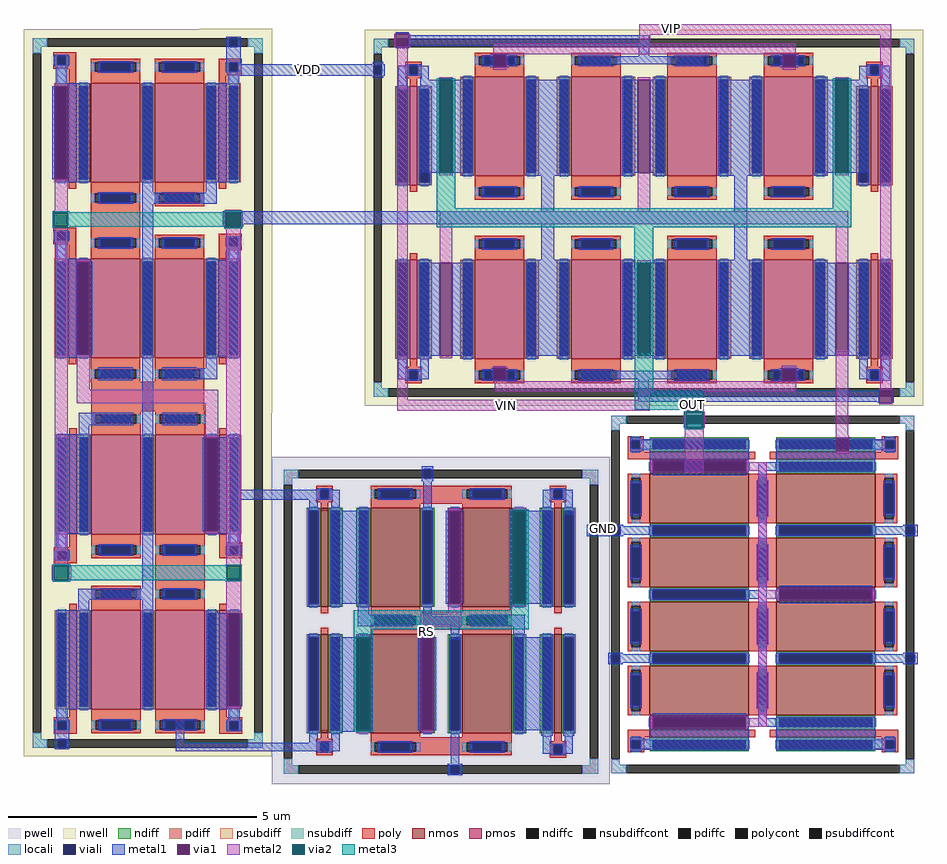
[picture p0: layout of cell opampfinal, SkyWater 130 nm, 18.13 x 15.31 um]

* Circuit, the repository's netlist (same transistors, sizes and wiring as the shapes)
* NGSPICE file created from opampfinal.ext - technology: sky130A

.subckt sky130_fd_pr__nfet_01v8_U7AA6P a_n287_n200# a_229_n200# a_29_n288# a_n29_n200#
+ a_n229_n288# VSUBS
X0 a_n29_n200# a_n229_n288# a_n287_n200# VSUBS sky130_fd_pr__nfet_01v8 ad=0.29 pd=2.29 as=0.58 ps=4.58 w=2 l=1
X1 a_229_n200# a_29_n288# a_n29_n200# VSUBS sky130_fd_pr__nfet_01v8 ad=0.58 pd=4.58 as=0.29 ps=2.29 w=2 l=1
.ends

.subckt sky130_fd_pr__nfet_01v8_TC9PLT a_15_n200# a_n15_n226# a_n73_n200# VSUBS
X0 a_15_n200# a_n15_n226# a_n73_n200# VSUBS sky130_fd_pr__nfet_01v8 ad=0.58 pd=4.58 as=0.58 ps=4.58 w=2 l=0.15
.ends

.subckt nmoscs2 GND D9 D8
Xsky130_fd_pr__nfet_01v8_U7AA6P_2 D9 D8 D8 GND D8 GND sky130_fd_pr__nfet_01v8_U7AA6P
Xsky130_fd_pr__nfet_01v8_U7AA6P_3 D9 D8 D8 GND D8 GND sky130_fd_pr__nfet_01v8_U7AA6P
Xsky130_fd_pr__nfet_01v8_TC9PLT_0 D8 D8 D8 GND sky130_fd_pr__nfet_01v8_TC9PLT
Xsky130_fd_pr__nfet_01v8_TC9PLT_1 D8 D8 D8 GND sky130_fd_pr__nfet_01v8_TC9PLT
Xsky130_fd_pr__nfet_01v8_TC9PLT_2 D9 D9 D9 GND sky130_fd_pr__nfet_01v8_TC9PLT
Xsky130_fd_pr__nfet_01v8_TC9PLT_3 D9 D9 D9 GND sky130_fd_pr__nfet_01v8_TC9PLT
Xsky130_fd_pr__nfet_01v8_U7AA6P_0 D8 D9 D8 GND D8 GND sky130_fd_pr__nfet_01v8_U7AA6P
Xsky130_fd_pr__nfet_01v8_U7AA6P_1 D8 D9 D8 GND D8 GND sky130_fd_pr__nfet_01v8_U7AA6P
.ends

.subckt sky130_fd_pr__pfet_01v8_2ZH9AN a_15_n200# a_n15_n226# a_n73_n200# w_n109_n262#
X0 a_15_n200# a_n15_n226# a_n73_n200# w_n109_n262# sky130_fd_pr__pfet_01v8 ad=0.58 pd=4.58 as=0.58 ps=4.58 w=2 l=0.15
.ends

.subckt sky130_fd_pr__pfet_01v8_SDE6B7 a_29_n297# a_n287_n200# a_n229_n297# a_229_n200#
+ a_n29_n200# w_n323_n300#
X0 a_229_n200# a_29_n297# a_n29_n200# w_n323_n300# sky130_fd_pr__pfet_01v8 ad=0.58 pd=4.58 as=0.29 ps=2.29 w=2 l=1
X1 a_n29_n200# a_n229_n297# a_n287_n200# w_n323_n300# sky130_fd_pr__pfet_01v8 ad=0.29 pd=2.29 as=0.58 ps=4.58 w=2 l=1
.ends

.subckt pmoscs VDD D5 D1 D2
Xsky130_fd_pr__pfet_01v8_2ZH9AN_0 VDD VDD VDD VDD sky130_fd_pr__pfet_01v8_2ZH9AN
Xsky130_fd_pr__pfet_01v8_2ZH9AN_1 D2 D2 D2 VDD sky130_fd_pr__pfet_01v8_2ZH9AN
Xsky130_fd_pr__pfet_01v8_2ZH9AN_2 D1 D1 D1 VDD sky130_fd_pr__pfet_01v8_2ZH9AN
Xsky130_fd_pr__pfet_01v8_2ZH9AN_3 D5 D5 D5 VDD sky130_fd_pr__pfet_01v8_2ZH9AN
Xsky130_fd_pr__pfet_01v8_2ZH9AN_4 D1 D1 D1 VDD sky130_fd_pr__pfet_01v8_2ZH9AN
Xsky130_fd_pr__pfet_01v8_2ZH9AN_5 D5 D5 D5 VDD sky130_fd_pr__pfet_01v8_2ZH9AN
Xsky130_fd_pr__pfet_01v8_2ZH9AN_6 D2 D2 D2 VDD sky130_fd_pr__pfet_01v8_2ZH9AN
Xsky130_fd_pr__pfet_01v8_2ZH9AN_7 VDD VDD VDD VDD sky130_fd_pr__pfet_01v8_2ZH9AN
Xsky130_fd_pr__pfet_01v8_SDE6B7_0 VDD D5 D2 VDD VDD VDD sky130_fd_pr__pfet_01v8_SDE6B7
Xsky130_fd_pr__pfet_01v8_SDE6B7_1 D2 D1 D2 D2 VDD VDD sky130_fd_pr__pfet_01v8_SDE6B7
Xsky130_fd_pr__pfet_01v8_SDE6B7_2 D2 D2 D2 D1 VDD VDD sky130_fd_pr__pfet_01v8_SDE6B7
Xsky130_fd_pr__pfet_01v8_SDE6B7_3 D2 VDD VDD D5 VDD VDD sky130_fd_pr__pfet_01v8_SDE6B7
.ends

.subckt sky130_fd_pr__pfet_01v8_S56997 a_n100_n297# a_100_n200# w_n194_n300# a_n158_n200#
X0 a_100_n200# a_n100_n297# a_n158_n200# w_n194_n300# sky130_fd_pr__pfet_01v8 ad=0.58 pd=4.58 as=0.58 ps=4.58 w=2 l=1
.ends

.subckt sky130_fd_pr__pfet_01v8_L4T9AL a_n73_n164# a_n33_n261# a_15_n164# w_n109_n264#
X0 a_15_n164# a_n33_n261# a_n73_n164# w_n109_n264# sky130_fd_pr__pfet_01v8 ad=0.58 pd=4.58 as=0.58 ps=4.58 w=2 l=0.15
.ends

.subckt sky130_fd_pr__pfet_01v8_M4T9AN a_n33_195# a_n73_n236# w_n109_n298# a_15_n236#
X0 a_15_n236# a_n33_195# a_n73_n236# w_n109_n298# sky130_fd_pr__pfet_01v8 ad=0.58 pd=4.58 as=0.58 ps=4.58 w=2 l=0.15
.ends

.subckt pmosdif D7 VIN VIP VDD S D6
Xsky130_fd_pr__pfet_01v8_S56997_2 VIP D7 VDD S sky130_fd_pr__pfet_01v8_S56997
Xsky130_fd_pr__pfet_01v8_S56997_3 VIP S VDD D7 sky130_fd_pr__pfet_01v8_S56997
Xsky130_fd_pr__pfet_01v8_S56997_4 VIN S VDD D6 sky130_fd_pr__pfet_01v8_S56997
Xsky130_fd_pr__pfet_01v8_S56997_5 VIP S VDD D7 sky130_fd_pr__pfet_01v8_S56997
Xsky130_fd_pr__pfet_01v8_S56997_6 VIN D6 VDD S sky130_fd_pr__pfet_01v8_S56997
Xsky130_fd_pr__pfet_01v8_S56997_7 VIN S VDD D6 sky130_fd_pr__pfet_01v8_S56997
Xsky130_fd_pr__pfet_01v8_L4T9AL_0 D7 D7 D7 VDD sky130_fd_pr__pfet_01v8_L4T9AL
Xsky130_fd_pr__pfet_01v8_L4T9AL_1 D7 D7 D7 VDD sky130_fd_pr__pfet_01v8_L4T9AL
Xsky130_fd_pr__pfet_01v8_M4T9AN_0 D6 D6 VDD D6 sky130_fd_pr__pfet_01v8_M4T9AN
Xsky130_fd_pr__pfet_01v8_M4T9AN_1 D6 D6 VDD D6 sky130_fd_pr__pfet_01v8_M4T9AN
Xsky130_fd_pr__pfet_01v8_S56997_0 VIN D6 VDD S sky130_fd_pr__pfet_01v8_S56997
Xsky130_fd_pr__pfet_01v8_S56997_1 VIP D7 VDD S sky130_fd_pr__pfet_01v8_S56997
.ends

.subckt sky130_fd_pr__nfet_01v8_F3PBJA a_100_n200# a_n158_n200# a_n100_n288# VSUBS
X0 a_100_n200# a_n100_n288# a_n158_n200# VSUBS sky130_fd_pr__nfet_01v8 ad=0.58 pd=4.58 as=0.58 ps=4.58 w=2 l=1
.ends

.subckt sky130_fd_pr__nfet_01v8_TCR5KT a_n33_191# a_n73_n231# a_15_n231# VSUBS
X0 a_15_n231# a_n33_191# a_n73_n231# VSUBS sky130_fd_pr__nfet_01v8 ad=0.58 pd=4.58 as=0.58 ps=4.58 w=2 l=0.15
.ends

.subckt nmoscs D3 GND RS D4
Xsky130_fd_pr__nfet_01v8_F3PBJA_0 GND D3 D3 GND sky130_fd_pr__nfet_01v8_F3PBJA
Xsky130_fd_pr__nfet_01v8_F3PBJA_1 RS D4 D3 GND sky130_fd_pr__nfet_01v8_F3PBJA
Xsky130_fd_pr__nfet_01v8_F3PBJA_2 D4 RS D3 GND sky130_fd_pr__nfet_01v8_F3PBJA
Xsky130_fd_pr__nfet_01v8_TC9PLT_0 D3 D3 D3 GND sky130_fd_pr__nfet_01v8_TC9PLT
Xsky130_fd_pr__nfet_01v8_F3PBJA_3 D3 GND D3 GND sky130_fd_pr__nfet_01v8_F3PBJA
Xsky130_fd_pr__nfet_01v8_TC9PLT_1 D3 D3 D3 GND sky130_fd_pr__nfet_01v8_TC9PLT
Xsky130_fd_pr__nfet_01v8_TC9PLT_2 D4 D4 D4 GND sky130_fd_pr__nfet_01v8_TC9PLT
Xsky130_fd_pr__nfet_01v8_TCR5KT_0 D4 D4 D4 GND sky130_fd_pr__nfet_01v8_TCR5KT
.ends

.subckt opampfinal VDD VIN GND RS OUT VIP
Xnmoscs2_0 GND OUT pmosdif_0/D6 nmoscs2
Xpmoscs_0 VDD pmosdif_0/S pmoscs_0/D1 pmoscs_0/D2 pmoscs
Xpmosdif_0 OUT VIN VIP VDD pmosdif_0/S pmosdif_0/D6 pmosdif
Xnmoscs_0 pmoscs_0/D1 GND RS pmoscs_0/D2 nmoscs
.ends

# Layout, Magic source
magic
tech sky130A
magscale 1 2
<< nwell >>
rect 708 1386 1001 2932
<< viali >>
rect 2281 894 2315 928
<< metal1 >>
rect 864 2743 1405 2789
rect 803 2197 961 2198
rect 803 2194 2097 2197
rect 803 2134 813 2194
rect 876 2144 2097 2194
rect 876 2134 886 2144
rect 3262 1231 3272 1283
rect 3325 1231 3335 1283
rect 839 1035 1159 1075
rect 2269 928 2367 934
rect 2269 894 2281 928
rect 2315 894 2367 928
rect 2269 888 2367 894
rect 613 55 647 144
rect 613 21 1242 55
<< via1 >>
rect 813 2134 876 2194
rect 3272 1231 3325 1283
<< metal2 >>
rect 2592 2920 2622 2942
rect 813 2194 876 2204
rect 813 2124 876 2134
rect 1505 1394 2523 1437
rect 2665 1390 2741 1395
rect 2661 1324 2670 1390
rect 2736 1324 2745 1390
rect 2665 1144 2741 1324
rect 3272 1293 3324 1635
rect 3272 1283 3325 1293
rect 3272 1221 3325 1231
rect 1600 481 1652 575
<< via2 >>
rect 2670 1324 2736 1390
<< metal3 >>
rect 2462 1474 2538 1629
rect 2462 1398 2741 1474
rect 2665 1390 2741 1398
rect 2665 1324 2670 1390
rect 2736 1324 2741 1390
rect 2665 1319 2741 1324
use nmoscs2  nmoscs2_0
transform 0 1 2945 -1 0 1198
box -176 -589 1266 658
use nmoscs  nmoscs_0
transform 1 0 1340 0 1 515
box -340 -626 1022 692
use pmoscs  pmoscs_0
transform 1 0 178 0 1 106
box -178 -106 822 2824
use pmosdif  pmosdif_0
transform -1 0 3284 0 -1 2118
box -342 -834 1910 724
<< labels >>
flabel metal1 1144 2769 1144 2769 0 FreeSans 800 0 0 0 VDD
port 1 nsew
flabel metal2 1946 1416 1946 1416 0 FreeSans 800 0 0 0 VIN
port 3 nsew
flabel metal1 2336 918 2336 918 0 FreeSans 800 0 0 0 GND
port 4 nsew
flabel metal2 1624 503 1624 503 0 FreeSans 800 0 0 0 RS
port 7 nsew
flabel metal3 2697 1420 2697 1420 0 FreeSans 800 0 0 0 OUT
port 8 nsew
flabel metal2 2610 2934 2610 2934 0 FreeSans 800 0 0 0 VIP
port 10 nsew
<< end >>

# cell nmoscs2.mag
magic
tech sky130A
magscale 1 2
<< psubdiff >>
rect -176 611 -116 645
rect 1209 611 1266 645
rect -176 585 -142 611
rect 1232 585 1266 611
rect -176 -542 -142 -516
rect 1232 -542 1266 -516
rect -176 -576 -116 -542
rect 1209 -576 1266 -542
<< psubdiffcont >>
rect -116 611 1209 645
rect -176 -516 -142 585
rect 1232 -516 1266 585
rect -116 -576 1209 -542
<< poly >>
rect -92 564 0 580
rect -92 530 -76 564
rect -42 530 0 564
rect -92 514 0 530
rect -30 488 0 514
rect 1090 564 1182 580
rect 1090 530 1132 564
rect 1166 530 1182 564
rect 1090 514 1182 530
rect 1090 504 1120 514
rect -30 -445 0 -419
rect -92 -461 0 -445
rect -92 -495 -76 -461
rect -42 -495 0 -461
rect -92 -511 0 -495
rect 1090 -444 1120 -418
rect 1090 -460 1182 -444
rect 1090 -494 1132 -460
rect 1166 -494 1182 -460
rect 1090 -510 1182 -494
<< polycont >>
rect -76 530 -42 564
rect 1132 530 1166 564
rect -76 -495 -42 -461
rect 1132 -494 1166 -460
<< locali >>
rect -176 611 -116 645
rect 1209 611 1266 645
rect -176 585 -142 611
rect 1232 585 1266 611
rect -92 530 -76 564
rect -42 530 -26 564
rect 1116 530 1132 564
rect 1166 530 1182 564
rect -76 488 -42 530
rect 1132 488 1166 530
rect -76 -461 -42 -419
rect 1132 -460 1166 -418
rect -92 -495 -76 -461
rect -42 -495 -26 -461
rect 1116 -494 1132 -460
rect 1166 -494 1182 -460
rect -176 -542 -142 -516
rect 1232 -542 1266 -516
rect -176 -576 -116 -542
rect 1209 -576 1266 -542
<< viali >>
rect 270 645 304 646
rect 786 645 820 646
rect 270 611 304 645
rect 786 611 820 645
rect -76 530 -42 564
rect 1132 530 1166 564
rect -76 -495 -42 -461
rect 1132 -494 1166 -460
rect 270 -542 304 -541
rect 270 -576 304 -542
rect 786 -576 820 -542
rect 786 -577 820 -576
<< metal1 >>
rect 264 646 310 658
rect 264 611 270 646
rect 304 611 310 646
rect 264 599 310 611
rect 780 646 826 658
rect 780 611 786 646
rect 820 611 826 646
rect 780 599 826 611
rect -88 564 -30 570
rect -88 530 -76 564
rect -42 530 -30 564
rect -88 524 -30 530
rect -81 488 -36 524
rect -82 88 51 488
rect 270 472 304 599
rect 509 100 519 476
rect 571 100 581 476
rect 786 473 820 599
rect 1120 564 1178 570
rect 1120 530 1132 564
rect 1166 530 1178 564
rect 1120 524 1178 530
rect 1126 488 1171 524
rect 1038 88 1171 488
rect 12 50 46 88
rect 1044 50 1078 88
rect 12 16 1078 50
rect -82 -33 51 -22
rect -82 -410 2 -33
rect 54 -410 64 -33
rect 528 -36 562 16
rect 1038 -23 1171 -22
rect 1035 -32 1171 -23
rect 1025 -34 1171 -32
rect 1024 -410 1034 -34
rect 1086 -410 1171 -34
rect -82 -422 51 -410
rect -81 -455 -36 -422
rect -88 -461 -30 -455
rect -88 -495 -76 -461
rect -42 -495 -30 -461
rect -88 -501 -30 -495
rect 270 -529 304 -415
rect 264 -541 310 -529
rect 786 -530 820 -416
rect 1035 -423 1171 -410
rect 1126 -454 1171 -423
rect 1120 -460 1178 -454
rect 1120 -494 1132 -460
rect 1166 -494 1178 -460
rect 1120 -500 1178 -494
rect 264 -576 270 -541
rect 304 -576 310 -541
rect 264 -588 310 -576
rect 780 -542 826 -530
rect 780 -577 786 -542
rect 820 -577 826 -542
rect 780 -589 826 -577
<< via1 >>
rect 519 100 571 476
rect 2 -410 54 -33
rect 1034 -410 1086 -34
<< metal2 >>
rect 519 476 571 486
rect 519 90 571 100
rect 528 50 562 90
rect 12 16 1078 50
rect 12 -23 46 16
rect 2 -33 54 -23
rect 1044 -24 1078 16
rect 2 -420 54 -410
rect 1034 -34 1086 -24
rect 1034 -420 1086 -410
use sky130_fd_pr__nfet_01v8_TC9PLT  sky130_fd_pr__nfet_01v8_TC9PLT_0
transform 1 0 1105 0 1 288
box -73 -226 73 226
use sky130_fd_pr__nfet_01v8_TC9PLT  sky130_fd_pr__nfet_01v8_TC9PLT_1
transform 1 0 -15 0 1 288
box -73 -226 73 226
use sky130_fd_pr__nfet_01v8_TC9PLT  sky130_fd_pr__nfet_01v8_TC9PLT_2
transform 1 0 -15 0 1 -222
box -73 -226 73 226
use sky130_fd_pr__nfet_01v8_TC9PLT  sky130_fd_pr__nfet_01v8_TC9PLT_3
transform 1 0 1105 0 1 -222
box -73 -226 73 226
use sky130_fd_pr__nfet_01v8_U7AA6P  sky130_fd_pr__nfet_01v8_U7AA6P_0
transform 1 0 803 0 1 -222
box -287 -288 287 288
use sky130_fd_pr__nfet_01v8_U7AA6P  sky130_fd_pr__nfet_01v8_U7AA6P_1
transform 1 0 287 0 1 288
box -287 -288 287 288
use sky130_fd_pr__nfet_01v8_U7AA6P  sky130_fd_pr__nfet_01v8_U7AA6P_2
transform 1 0 803 0 1 288
box -287 -288 287 288
use sky130_fd_pr__nfet_01v8_U7AA6P  sky130_fd_pr__nfet_01v8_U7AA6P_3
transform 1 0 287 0 1 -222
box -287 -288 287 288
<< labels >>
flabel metal1 801 546 801 546 0 FreeSans 800 0 0 0 GND
port 0 nsew
flabel metal1 1057 70 1057 70 0 FreeSans 800 0 0 0 D8
port 1 nsew
flabel metal2 26 -10 26 -10 0 FreeSans 800 0 0 0 D9
port 2 nsew
<< end >>

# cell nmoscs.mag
magic
tech sky130A
magscale 1 2
<< pwell >>
rect -340 -626 1022 692
<< psubdiff >>
rect -291 607 -234 641
rect 912 607 975 641
rect -291 581 -257 607
rect 941 581 975 607
rect -291 -551 -257 -525
rect 941 -551 975 -525
rect -291 -585 -234 -551
rect 912 -585 975 -551
<< psubdiffcont >>
rect -234 607 912 641
rect -291 -525 -257 581
rect 941 -525 975 581
rect -234 -585 912 -551
<< poly >>
rect -160 560 -94 576
rect -160 526 -144 560
rect -110 526 -94 560
rect -160 510 -94 526
rect -142 476 -112 510
rect 258 504 428 576
rect 258 -4 428 68
rect -142 -444 -112 -410
rect -160 -460 -94 -444
rect -160 -494 -144 -460
rect -110 -494 -94 -460
rect -160 -510 -94 -494
rect 258 -510 428 -438
rect 798 -454 828 -420
rect 780 -470 846 -454
rect 780 -504 796 -470
rect 830 -504 846 -470
rect 780 -520 846 -504
<< polycont >>
rect -144 526 -110 560
rect -144 -494 -110 -460
rect 796 -504 830 -470
<< locali >>
rect -291 607 -234 641
rect 912 607 975 641
rect -291 581 -257 607
rect 941 581 975 607
rect -160 526 -144 560
rect -110 526 -94 560
rect -188 476 -154 492
rect -100 476 -66 492
rect -188 -426 -154 -410
rect -100 -426 -66 -410
rect 752 -436 786 -420
rect 840 -436 874 -420
rect -160 -494 -144 -460
rect -110 -494 -94 -460
rect 780 -504 796 -470
rect 830 -504 846 -470
rect -291 -551 -257 -525
rect 941 -551 975 -525
rect -291 -585 -234 -551
rect 912 -585 975 -551
<< viali >>
rect 270 641 304 642
rect 270 607 304 641
rect 270 606 304 607
rect -144 526 -110 560
rect -144 -494 -110 -460
rect 796 -504 830 -470
rect 382 -585 416 -551
<< metal1 >>
rect 264 642 310 654
rect 264 606 270 642
rect 304 606 310 642
rect 264 594 310 606
rect -156 560 -98 566
rect -188 526 -144 560
rect -110 526 -66 560
rect -188 520 -66 526
rect -188 488 -154 520
rect -100 488 -66 520
rect -194 476 -148 488
rect -106 476 -60 488
rect 270 476 304 594
rect -100 100 48 476
rect 362 100 372 476
rect 424 100 434 476
rect 622 100 632 477
rect 684 476 694 477
rect 752 476 786 560
rect 684 100 786 476
rect 840 460 874 560
rect 6 56 52 90
rect 6 10 96 56
rect 270 49 304 98
rect 270 15 415 49
rect -100 -410 2 -34
rect -194 -422 -148 -410
rect -106 -411 2 -410
rect 54 -411 64 -34
rect 250 -410 260 -34
rect 312 -410 322 -34
rect 382 -44 415 15
rect 563 10 680 56
rect 634 -32 680 10
rect 640 -408 788 -34
rect -106 -416 16 -411
rect -106 -422 -60 -416
rect -188 -454 -154 -422
rect -100 -454 -66 -422
rect -188 -460 -66 -454
rect -188 -494 -144 -460
rect -110 -494 -66 -460
rect -156 -500 -98 -494
rect 382 -545 416 -409
rect 640 -410 780 -408
rect 746 -432 792 -420
rect 834 -432 880 -420
rect 752 -464 786 -432
rect 840 -464 874 -432
rect 752 -470 874 -464
rect 752 -504 796 -470
rect 830 -504 874 -470
rect 784 -510 842 -504
rect 370 -551 428 -545
rect 370 -585 382 -551
rect 416 -585 428 -551
rect 370 -591 428 -585
<< via1 >>
rect 372 100 424 476
rect 632 100 684 477
rect 2 -411 54 -34
rect 260 -410 312 -34
<< metal2 >>
rect 372 476 424 486
rect 372 60 424 100
rect 629 477 685 487
rect 629 90 685 100
rect 260 8 424 60
rect 0 -34 56 -24
rect 0 -421 56 -411
rect 260 -34 312 8
rect 260 -420 312 -410
<< via2 >>
rect 629 100 632 477
rect 632 100 684 477
rect 684 100 685 477
rect 0 -411 2 -34
rect 2 -411 54 -34
rect 54 -411 56 -34
<< metal3 >>
rect 619 477 695 482
rect 619 100 629 477
rect 685 100 695 477
rect 619 74 695 100
rect -10 -2 695 74
rect -10 -34 66 -2
rect -10 -411 0 -34
rect 56 -411 66 -34
rect -10 -416 66 -411
use sky130_fd_pr__nfet_01v8_F3PBJA  sky130_fd_pr__nfet_01v8_F3PBJA_0
transform 1 0 158 0 1 288
box -158 -288 158 288
use sky130_fd_pr__nfet_01v8_F3PBJA  sky130_fd_pr__nfet_01v8_F3PBJA_1
transform 1 0 158 0 1 -222
box -158 -288 158 288
use sky130_fd_pr__nfet_01v8_F3PBJA  sky130_fd_pr__nfet_01v8_F3PBJA_2
transform 1 0 528 0 1 288
box -158 -288 158 288
use sky130_fd_pr__nfet_01v8_F3PBJA  sky130_fd_pr__nfet_01v8_F3PBJA_3
transform 1 0 528 0 1 -222
box -158 -288 158 288
use sky130_fd_pr__nfet_01v8_TC9PLT  sky130_fd_pr__nfet_01v8_TC9PLT_0
transform 1 0 813 0 1 -222
box -73 -226 73 226
use sky130_fd_pr__nfet_01v8_TC9PLT  sky130_fd_pr__nfet_01v8_TC9PLT_1
transform 1 0 -127 0 1 288
box -73 -226 73 226
use sky130_fd_pr__nfet_01v8_TC9PLT  sky130_fd_pr__nfet_01v8_TC9PLT_2
transform 1 0 -127 0 1 -222
box -73 -226 73 226
use sky130_fd_pr__nfet_01v8_TCR5KT  sky130_fd_pr__nfet_01v8_TCR5KT_0
transform 1 0 813 0 1 319
box -73 -257 73 257
<< labels >>
flabel metal1 -15 299 -15 299 0 FreeSans 800 0 0 0 D3
port 2 nsew
flabel viali 400 -568 400 -568 0 FreeSans 800 0 0 0 GND
port 4 nsew
flabel via1 394 122 394 122 0 FreeSans 800 0 0 0 RS
port 5 nsew
flabel via2 664 198 664 198 0 FreeSans 800 0 0 0 D4
port 7 nsew
<< end >>

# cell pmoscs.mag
magic
tech sky130A
magscale 1 2
<< nwell >>
rect -178 -106 822 2824
<< nsubdiff >>
rect -142 2754 -82 2788
rect 726 2754 786 2788
rect -142 2728 -108 2754
rect 752 2728 786 2754
rect -142 -36 -108 -10
rect 752 -36 786 -10
rect -142 -70 -82 -36
rect 726 -70 786 -36
<< nsubdiffcont >>
rect -82 2754 726 2788
rect -142 -10 -108 2728
rect 752 -10 786 2728
rect -82 -70 726 -36
<< poly >>
rect -58 2716 34 2732
rect -58 2682 -42 2716
rect -8 2682 34 2716
rect -58 2666 34 2682
rect 4 2634 34 2666
rect 608 2690 700 2706
rect 608 2656 650 2690
rect 684 2656 700 2690
rect 608 2640 700 2656
rect 608 2634 638 2640
rect -58 2008 34 2024
rect -58 1974 -42 2008
rect -8 1974 34 2008
rect 92 1996 292 2112
rect -58 1958 34 1974
rect 4 1900 34 1958
rect 608 1984 700 2000
rect 608 1950 650 1984
rect 684 1950 700 1984
rect 608 1934 700 1950
rect 608 1900 638 1934
rect 94 1286 550 1404
rect 6 738 36 796
rect -56 722 36 738
rect -56 688 -40 722
rect -6 688 36 722
rect 610 758 640 790
rect 610 742 702 758
rect 610 708 652 742
rect 686 708 702 742
rect -56 672 36 688
rect 352 580 552 696
rect 610 692 702 708
rect 6 52 36 84
rect -56 37 36 52
rect -56 3 -40 37
rect -6 3 36 37
rect -56 -14 36 3
rect 610 52 640 84
rect 610 36 702 52
rect 610 2 652 36
rect 686 2 702 36
rect 610 -14 702 2
<< polycont >>
rect -42 2682 -8 2716
rect 650 2656 684 2690
rect -42 1974 -8 2008
rect 650 1950 684 1984
rect -40 688 -6 722
rect 652 708 686 742
rect -40 3 -6 37
rect 652 2 686 36
<< locali >>
rect -142 2754 -82 2788
rect 726 2754 786 2788
rect -142 2728 -108 2754
rect 752 2728 786 2754
rect -58 2682 -42 2716
rect -8 2682 8 2716
rect -42 2608 -8 2682
rect 634 2656 650 2690
rect 684 2656 700 2690
rect 650 2608 684 2656
rect -58 1974 -42 2008
rect -8 1974 8 2008
rect -42 1900 -8 1974
rect 634 1950 650 1984
rect 684 1950 700 1984
rect 650 1900 684 1950
rect -40 722 -6 796
rect 652 742 686 790
rect -56 688 -40 722
rect -6 688 10 722
rect 636 708 652 742
rect 686 708 702 742
rect -40 37 -6 84
rect 652 36 686 84
rect -56 2 -40 36
rect -6 2 10 36
rect 636 2 652 36
rect 686 2 702 36
rect -142 -36 -108 -10
rect 752 -36 786 -10
rect -142 -70 -82 -36
rect 726 -70 786 -36
<< viali >>
rect 650 2754 684 2788
rect -42 2682 -8 2716
rect 650 2656 684 2690
rect -42 1974 -8 2008
rect 650 1950 684 1984
rect -40 688 -6 722
rect 652 708 686 742
rect -40 3 -6 36
rect -40 2 -6 3
rect 652 2 686 36
rect -40 -70 -6 -36
<< metal1 >>
rect 638 2788 696 2794
rect 638 2754 650 2788
rect 684 2754 696 2788
rect -54 2716 4 2722
rect -54 2682 -42 2716
rect -8 2682 4 2716
rect -54 2676 4 2682
rect 638 2690 696 2754
rect -48 2608 -2 2676
rect 638 2656 650 2690
rect 684 2656 696 2690
rect 638 2650 696 2656
rect 644 2608 690 2650
rect -48 2596 88 2608
rect -62 2220 -52 2596
rect 0 2220 88 2596
rect -48 2208 88 2220
rect 300 2166 344 2608
rect 556 2208 692 2608
rect 556 2166 600 2208
rect 300 2122 600 2166
rect -54 2008 4 2014
rect -54 1974 -42 2008
rect -8 1974 4 2008
rect -54 1968 4 1974
rect -48 1900 -2 1968
rect -46 1888 90 1900
rect -46 1512 36 1888
rect 88 1512 98 1888
rect -46 1500 90 1512
rect 122 1410 262 1462
rect 44 1228 264 1280
rect 44 1192 86 1228
rect -46 792 90 1192
rect -46 728 0 792
rect -52 722 6 728
rect -52 688 -40 722
rect -6 688 6 722
rect -52 682 6 688
rect 300 570 344 2122
rect 638 1984 696 1990
rect 638 1950 650 1984
rect 684 1950 696 1984
rect 638 1944 696 1950
rect 644 1894 690 1944
rect 556 1506 692 1894
rect 380 1458 520 1462
rect 556 1458 602 1506
rect 380 1414 602 1458
rect 380 1410 520 1414
rect 382 1228 522 1280
rect 554 1178 690 1180
rect 544 802 554 1178
rect 606 802 690 1178
rect 554 792 690 802
rect 646 748 692 790
rect 640 742 698 748
rect 640 708 652 742
rect 686 708 698 742
rect 640 702 698 708
rect 42 526 344 570
rect 42 484 86 526
rect -46 84 90 484
rect 300 84 344 526
rect 558 96 642 472
rect 694 96 704 472
rect 558 84 694 96
rect -46 42 0 84
rect 646 42 692 84
rect -52 36 6 42
rect -52 2 -40 36
rect -6 2 6 36
rect -52 -36 6 2
rect 640 36 698 42
rect 640 2 652 36
rect 686 2 698 36
rect 640 -4 698 2
rect -52 -70 -40 -36
rect -6 -70 6 -36
rect -52 -76 6 -70
<< via1 >>
rect -52 2220 0 2596
rect 36 1512 88 1888
rect 554 802 606 1178
rect 642 96 694 472
<< metal2 >>
rect -52 2596 0 2606
rect -52 2095 0 2220
rect -56 2086 0 2095
rect 638 2088 698 2097
rect -56 2021 0 2030
rect 627 2028 636 2088
rect 698 2028 705 2088
rect -52 664 0 2021
rect 638 2019 698 2028
rect 36 1888 88 1898
rect 36 1372 88 1512
rect 36 1318 606 1372
rect 554 1178 606 1318
rect 554 792 606 802
rect 639 664 697 2019
rect -65 604 -56 664
rect 4 604 13 664
rect 638 662 698 664
rect 638 606 640 662
rect 696 606 698 662
rect 638 472 698 606
rect 638 450 642 472
rect 694 450 698 472
rect 642 86 694 96
<< via2 >>
rect -56 2030 0 2086
rect 636 2028 698 2088
rect -56 604 4 664
rect 640 606 696 662
<< metal3 >>
rect -61 2088 5 2091
rect 631 2088 703 2093
rect -61 2086 636 2088
rect -61 2030 -56 2086
rect 0 2030 636 2086
rect -61 2028 636 2030
rect 698 2028 703 2088
rect -61 2025 5 2028
rect 631 2023 703 2028
rect -61 664 9 669
rect 635 664 701 667
rect -61 604 -56 664
rect 4 662 701 664
rect 4 606 640 662
rect 696 606 701 662
rect 4 604 701 606
rect -61 599 9 604
rect 635 601 701 604
use sky130_fd_pr__pfet_01v8_2ZH9AN  sky130_fd_pr__pfet_01v8_2ZH9AN_0
transform 1 0 623 0 1 2408
box -109 -262 109 262
use sky130_fd_pr__pfet_01v8_2ZH9AN  sky130_fd_pr__pfet_01v8_2ZH9AN_1
transform 1 0 623 0 1 1700
box -109 -262 109 262
use sky130_fd_pr__pfet_01v8_2ZH9AN  sky130_fd_pr__pfet_01v8_2ZH9AN_2
transform 1 0 625 0 1 990
box -109 -262 109 262
use sky130_fd_pr__pfet_01v8_2ZH9AN  sky130_fd_pr__pfet_01v8_2ZH9AN_3
transform 1 0 19 0 1 2408
box -109 -262 109 262
use sky130_fd_pr__pfet_01v8_2ZH9AN  sky130_fd_pr__pfet_01v8_2ZH9AN_4
transform 1 0 19 0 1 1700
box -109 -262 109 262
use sky130_fd_pr__pfet_01v8_2ZH9AN  sky130_fd_pr__pfet_01v8_2ZH9AN_5
transform 1 0 625 0 1 284
box -109 -262 109 262
use sky130_fd_pr__pfet_01v8_2ZH9AN  sky130_fd_pr__pfet_01v8_2ZH9AN_6
transform 1 0 21 0 1 990
box -109 -262 109 262
use sky130_fd_pr__pfet_01v8_2ZH9AN  sky130_fd_pr__pfet_01v8_2ZH9AN_7
transform 1 0 21 0 1 284
box -109 -262 109 262
use sky130_fd_pr__pfet_01v8_SDE6B7  sky130_fd_pr__pfet_01v8_SDE6B7_0
transform 1 0 321 0 1 2408
box -323 -300 323 300
use sky130_fd_pr__pfet_01v8_SDE6B7  sky130_fd_pr__pfet_01v8_SDE6B7_1
transform 1 0 321 0 1 1700
box -323 -300 323 300
use sky130_fd_pr__pfet_01v8_SDE6B7  sky130_fd_pr__pfet_01v8_SDE6B7_2
transform 1 0 323 0 1 990
box -323 -300 323 300
use sky130_fd_pr__pfet_01v8_SDE6B7  sky130_fd_pr__pfet_01v8_SDE6B7_3
transform 1 0 323 0 1 284
box -323 -300 323 300
<< labels >>
flabel metal1 668 2726 668 2726 0 FreeSans 800 0 0 0 VDD
port 4 nsew
flabel metal1 574 1440 574 1440 0 FreeSans 800 0 0 0 D2
port 6 nsew
flabel metal2 58 1406 58 1406 0 FreeSans 800 0 0 0 D1
port 7 nsew
flabel metal2 668 1272 668 1272 0 FreeSans 800 0 0 0 D5
port 9 nsew
<< end >>

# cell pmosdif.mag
magic
tech sky130A
magscale 1 2
<< nwell >>
rect -342 -811 1910 705
<< nsubdiff >>
rect -306 635 -246 669
rect 1814 635 1874 669
rect -306 609 -272 635
rect -306 -741 -272 -714
rect 1840 609 1874 635
rect 1840 -741 1874 -714
rect -306 -775 -246 -741
rect 1814 -775 1874 -741
<< nsubdiffcont >>
rect -246 635 1814 669
rect -306 -714 -272 609
rect 1840 -714 1874 609
rect -246 -775 1814 -741
<< locali >>
rect -306 635 -246 669
rect 1814 635 1874 669
rect -306 609 -272 635
rect -306 -741 -272 -714
rect 1840 609 1874 635
rect 1840 -741 1874 -714
rect -306 -775 -246 -741
rect 1814 -775 1874 -741
<< viali >>
rect 1840 -665 1874 -631
<< metal1 >>
rect -223 640 -217 692
rect -165 688 -159 692
rect -165 644 808 688
rect -165 640 -159 644
rect -206 502 -172 603
rect -118 512 -84 597
rect 160 554 170 606
rect 228 554 238 606
rect 764 598 808 644
rect 530 564 1038 598
rect 1333 551 1339 603
rect 1391 551 1397 603
rect 1652 508 1686 597
rect 1740 508 1774 597
rect -118 128 -40 504
rect 12 128 90 504
rect 314 128 478 504
rect 702 128 758 504
rect 810 128 866 504
rect 1090 128 1254 504
rect 1478 128 1556 504
rect 1608 128 1686 504
rect 340 116 448 128
rect 1118 116 1228 128
rect 368 -26 420 116
rect 1146 -26 1198 116
rect 368 -80 1198 -26
rect 368 -222 420 -80
rect 1146 -222 1198 -80
rect 338 -234 446 -222
rect 1118 -234 1228 -222
rect -206 -665 -172 -574
rect -118 -610 -40 -234
rect 12 -610 90 -234
rect 314 -610 478 -234
rect 702 -610 758 -234
rect 810 -610 866 -234
rect 1090 -610 1254 -234
rect 1478 -610 1556 -234
rect 1608 -610 1686 -234
rect -118 -665 -84 -610
rect 162 -712 172 -660
rect 224 -712 234 -660
rect 543 -705 1051 -671
rect 763 -746 806 -705
rect 1329 -712 1339 -660
rect 1391 -712 1401 -660
rect 1652 -665 1686 -610
rect 1740 -665 1774 -570
rect 1834 -625 1878 -617
rect 1828 -631 1886 -625
rect 1828 -665 1840 -631
rect 1874 -665 1886 -631
rect 1828 -671 1886 -665
rect 1834 -682 1878 -671
rect 1732 -742 1784 -736
rect 763 -789 1732 -746
rect 1732 -800 1784 -794
<< via1 >>
rect -217 640 -165 692
rect 170 554 228 606
rect 1339 551 1391 603
rect -40 128 12 504
rect 758 128 810 504
rect 1556 128 1608 504
rect -40 -610 12 -234
rect 758 -610 810 -234
rect 1556 -610 1608 -234
rect 172 -712 224 -660
rect 1339 -712 1391 -660
rect 1732 -794 1784 -742
<< metal2 >>
rect -217 692 -165 698
rect 761 681 1779 724
rect 761 649 804 681
rect -217 634 -165 640
rect -213 -790 -169 634
rect 170 609 1386 649
rect 170 606 1391 609
rect 170 544 228 554
rect 1339 603 1391 606
rect 1339 545 1391 551
rect -40 504 12 514
rect -40 -27 12 128
rect 756 504 812 514
rect 756 118 812 128
rect 1556 504 1608 514
rect 1556 -27 1608 128
rect -40 -79 1608 -27
rect -42 -234 14 -224
rect -42 -620 14 -610
rect 758 -234 810 -79
rect 758 -620 810 -610
rect 1554 -234 1610 -224
rect 1554 -620 1610 -610
rect 172 -660 224 -650
rect 1339 -660 1391 -650
rect 172 -756 1391 -712
rect 1736 -742 1779 681
rect 758 -790 802 -756
rect -213 -834 802 -790
rect 1726 -794 1732 -742
rect 1784 -794 1790 -742
<< via2 >>
rect 756 128 758 504
rect 758 128 810 504
rect 810 128 812 504
rect -42 -610 -40 -234
rect -40 -610 12 -234
rect 12 -610 14 -234
rect 1554 -610 1556 -234
rect 1556 -610 1608 -234
rect 1608 -610 1610 -234
<< metal3 >>
rect 746 504 822 509
rect 746 128 756 504
rect 812 155 822 504
rect 812 128 823 155
rect 746 -15 823 128
rect -52 -91 1620 -15
rect -52 -234 24 -91
rect -52 -610 -42 -234
rect 14 -610 24 -234
rect -52 -615 24 -610
rect 1544 -234 1620 -91
rect 1544 -610 1554 -234
rect 1610 -610 1620 -234
rect 1544 -615 1620 -610
use sky130_fd_pr__pfet_01v8_L4T9AL  sky130_fd_pr__pfet_01v8_L4T9AL_0
transform 1 0 1713 0 1 -420
box -109 -264 109 298
use sky130_fd_pr__pfet_01v8_L4T9AL  sky130_fd_pr__pfet_01v8_L4T9AL_1
transform 1 0 -145 0 1 -420
box -109 -264 109 298
use sky130_fd_pr__pfet_01v8_M4T9AN  sky130_fd_pr__pfet_01v8_M4T9AN_0
transform 1 0 -145 0 1 352
box -109 -298 109 264
use sky130_fd_pr__pfet_01v8_M4T9AN  sky130_fd_pr__pfet_01v8_M4T9AN_1
transform 1 0 1713 0 1 352
box -109 -298 109 264
use sky130_fd_pr__pfet_01v8_S56997  sky130_fd_pr__pfet_01v8_S56997_0
transform 1 0 1366 0 1 316
box -194 -300 194 300
use sky130_fd_pr__pfet_01v8_S56997  sky130_fd_pr__pfet_01v8_S56997_1
transform 1 0 1366 0 1 -422
box -194 -300 194 300
use sky130_fd_pr__pfet_01v8_S56997  sky130_fd_pr__pfet_01v8_S56997_2
transform 1 0 590 0 1 316
box -194 -300 194 300
use sky130_fd_pr__pfet_01v8_S56997  sky130_fd_pr__pfet_01v8_S56997_3
transform 1 0 978 0 1 316
box -194 -300 194 300
use sky130_fd_pr__pfet_01v8_S56997  sky130_fd_pr__pfet_01v8_S56997_4
transform 1 0 202 0 1 316
box -194 -300 194 300
use sky130_fd_pr__pfet_01v8_S56997  sky130_fd_pr__pfet_01v8_S56997_5
transform 1 0 202 0 1 -422
box -194 -300 194 300
use sky130_fd_pr__pfet_01v8_S56997  sky130_fd_pr__pfet_01v8_S56997_6
transform 1 0 590 0 1 -422
box -194 -300 194 300
use sky130_fd_pr__pfet_01v8_S56997  sky130_fd_pr__pfet_01v8_S56997_7
transform 1 0 978 0 1 -422
box -194 -300 194 300
<< labels >>
flabel metal3 1583 -156 1583 -156 0 FreeSans 800 0 0 0 D7
port 0 nsew
flabel metal2 1130 717 1130 717 0 FreeSans 800 0 0 0 VIN
port 1 nsew
flabel metal2 4 -813 4 -813 0 FreeSans 800 0 0 0 VIP
port 2 nsew
flabel metal1 1879 -652 1879 -652 0 FreeSans 800 0 0 0 VDD
port 3 nsew
flabel metal1 1191 -354 1191 -354 0 FreeSans 800 0 0 0 S
port 4 nsew
flabel metal2 -6 45 -6 45 0 FreeSans 800 0 0 0 D6
port 5 nsew
<< end >>

# cell sky130_fd_pr__pfet_01v8_L4T9AL: kit device sky130_fd_pr__pfet_01v8, w 2 l 0.15 m 1 nf 1 diffcov 100 polycov 100 guard 0 glc 1 grc 1 gtc 1 gbc 1 tbcov 100 rlcov 100 topc 0 botc 1 poverlap 0 doverlap 1 lmin 0.15 wmin 0.42 compatible {sky130_fd_pr__pfet_01v8 sky130_fd_pr__pfet_01v8_lvt sky130_fd_pr__pfet_01v8_hvt sky130_fd_pr__pfet_g5v0d10v5} full_metal 1 viasrc 100 viadrn 100 viagate 100 viagb 0 viagr 0 viagl 0 viagt 0

# cell sky130_fd_pr__pfet_01v8_M4T9AN: kit device sky130_fd_pr__pfet_01v8, w 2 l 0.15 m 1 nf 1 diffcov 100 polycov 100 guard 0 glc 1 grc 1 gtc 1 gbc 1 tbcov 100 rlcov 100 topc 1 botc 0 poverlap 0 doverlap 1 lmin 0.15 wmin 0.42 compatible {sky130_fd_pr__pfet_01v8 sky130_fd_pr__pfet_01v8_lvt sky130_fd_pr__pfet_01v8_hvt sky130_fd_pr__pfet_g5v0d10v5} full_metal 1 viasrc 100 viadrn 100 viagate 100 viagb 0 viagr 0 viagl 0 viagt 0

# cell sky130_fd_pr__pfet_01v8_S56997: kit device sky130_fd_pr__pfet_01v8, w 2 l 1 m 1 nf 1 diffcov 100 polycov 100 guard 0 glc 1 grc 1 gtc 1 gbc 1 tbcov 100 rlcov 100 topc 1 botc 1 poverlap 0 doverlap 1 lmin 0.15 wmin 0.42 compatible {sky130_fd_pr__pfet_01v8 sky130_fd_pr__pfet_01v8_lvt sky130_fd_pr__pfet_01v8_hvt sky130_fd_pr__pfet_g5v0d10v5} full_metal 1 viasrc 100 viadrn 100 viagate 70 viagb 0 viagr 0 viagl 0 viagt 0

# cell sky130_fd_pr__pfet_01v8_2ZH9AN: kit device sky130_fd_pr__pfet_01v8, w 2 l 0.15 m 1 nf 1 diffcov 100 polycov 100 guard 0 glc 1 grc 1 gtc 1 gbc 1 tbcov 100 rlcov 100 topc 0 botc 0 poverlap 0 doverlap 1 lmin 0.15 wmin 0.42 compatible {sky130_fd_pr__pfet_01v8 sky130_fd_pr__pfet_01v8_lvt sky130_fd_pr__pfet_01v8_hvt sky130_fd_pr__pfet_g5v0d10v5} full_metal 1 viasrc 100 viadrn 100 viagate 100 viagb 0 viagr 0 viagl 0 viagt 0

# cell sky130_fd_pr__pfet_01v8_SDE6B7: kit device sky130_fd_pr__pfet_01v8, w 2 l 1 m 1 nf 2 diffcov 100 polycov 100 guard 0 glc 1 grc 1 gtc 1 gbc 1 tbcov 100 rlcov 100 topc 1 botc 1 poverlap 0 doverlap 1 lmin 0.15 wmin 0.42 compatible {sky130_fd_pr__pfet_01v8 sky130_fd_pr__pfet_01v8_lvt sky130_fd_pr__pfet_01v8_hvt sky130_fd_pr__pfet_g5v0d10v5} full_metal 1 viasrc 100 viadrn 100 viagate 70 viagb 0 viagr 0 viagl 0 viagt 0

# cell sky130_fd_pr__nfet_01v8_F3PBJA: kit device sky130_fd_pr__nfet_01v8, w 2 l 1 m 1 nf 1 diffcov 100 polycov 100 guard 0 glc 1 grc 1 gtc 1 gbc 1 tbcov 100 rlcov 100 topc 1 botc 1 poverlap 0 doverlap 0 lmin 0.15 wmin 0.42 compatible {sky130_fd_pr__nfet_01v8 sky130_fd_pr__nfet_01v8_lvt sky130_fd_bs_flash__special_sonosfet_star sky130_fd_pr__nfet_g5v0d10v5 sky130_fd_pr__nfet_05v0_nvt sky130_fd_pr__nfet_03v3_nvt} full_metal 1 viasrc 100 viadrn 100 viagate 70 viagb 0 viagr 0 viagl 0 viagt 0

# cell sky130_fd_pr__nfet_01v8_TC9PLT: kit device sky130_fd_pr__nfet_01v8, w 2 l 0.150 m 1 nf 1 diffcov 100 polycov 100 guard 0 glc 1 grc 1 gtc 1 gbc 1 tbcov 100 rlcov 100 topc 0 botc 0 poverlap 0 doverlap 1 lmin 0.15 wmin 0.42 compatible {sky130_fd_pr__nfet_01v8 sky130_fd_pr__nfet_01v8_lvt sky130_fd_bs_flash__special_sonosfet_star sky130_fd_pr__nfet_g5v0d10v5 sky130_fd_pr__nfet_05v0_nvt sky130_fd_pr__nfet_03v3_nvt} full_metal 1 viasrc 100 viadrn 100 viagate 100 viagb 0 viagr 0 viagl 0 viagt 0

# cell sky130_fd_pr__nfet_01v8_TCR5KT: kit device sky130_fd_pr__nfet_01v8, w 2 l 0.150 m 1 nf 1 diffcov 100 polycov 100 guard 0 glc 1 grc 1 gtc 1 gbc 1 tbcov 100 rlcov 100 topc 1 botc 0 poverlap 0 doverlap 1 lmin 0.15 wmin 0.42 compatible {sky130_fd_pr__nfet_01v8 sky130_fd_pr__nfet_01v8_lvt sky130_fd_bs_flash__special_sonosfet_star sky130_fd_pr__nfet_g5v0d10v5 sky130_fd_pr__nfet_05v0_nvt sky130_fd_pr__nfet_03v3_nvt} full_metal 1 viasrc 100 viadrn 100 viagate 100 viagb 0 viagr 0 viagl 0 viagt 0

# cell sky130_fd_pr__nfet_01v8_U7AA6P: kit device sky130_fd_pr__nfet_01v8, w 2 l 1 m 1 nf 2 diffcov 100 polycov 100 guard 0 glc 1 grc 1 gtc 1 gbc 1 tbcov 100 rlcov 100 topc 1 botc 1 poverlap 0 doverlap 1 lmin 0.15 wmin 0.42 compatible {sky130_fd_pr__nfet_01v8 sky130_fd_pr__nfet_01v8_lvt sky130_fd_bs_flash__special_sonosfet_star sky130_fd_pr__nfet_g5v0d10v5 sky130_fd_pr__nfet_05v0_nvt sky130_fd_pr__nfet_03v3_nvt} full_metal 1 viasrc 100 viadrn 100 viagate 70 viagb 0 viagr 0 viagl 0 viagt 0
